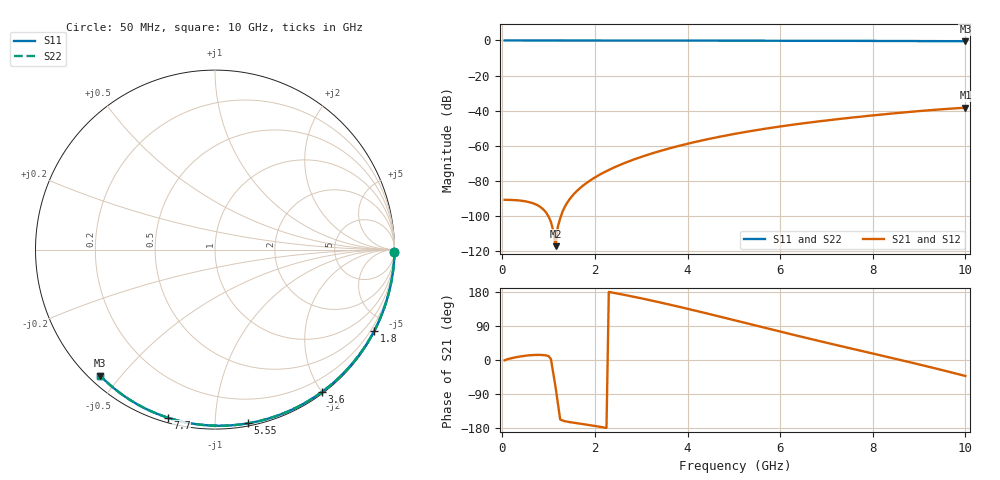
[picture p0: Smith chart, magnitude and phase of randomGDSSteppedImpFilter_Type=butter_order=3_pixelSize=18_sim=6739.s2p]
! freq	dB(S11)	phase(S11)	dB(S12)	phase(S12)
!  dB(S21)	phase(S21)	dB(S22)	phase(S22)
!S-par simulation data
#  GHz  S  DB  R 50
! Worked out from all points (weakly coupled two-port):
!   200 points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, 50 MHz to 10 GHz, reference 50 ohm
!   highest |S21| = -38.29 dB at 10 GHz (marker M1); lowest = -117.1 dB at 1.15 GHz (marker M2)
!   lowest |S11| = -0.4 dB at 10 GHz (marker M3), VSWR 38.89, Z = 1.54 - j22.1 ohm
!   |S11| at or under -10 dB: nowhere
!   |S22| runs from -0.4 to 0.0 dB; largest |S21 - S12| = 0
!   S11 on the Smith chart (normalised r, x): 50 MHz: open; 1.8 GHz: 0.04, -4.14; 3.6 GHz: 0.02, -2.00; 5.55 GHz: 0.02, -1.21; 7.7 GHz: 0.02, -0.76; 10 GHz: 0.03, -0.44
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0.05  -0.00 -0.8  -90.69 -0.8  -90.69 -0.8  -0.00 -0.8
0.6  -0.01 -9.2  -92.16 12.5  -92.16 12.5  -0.01 -9.2
1.15  -0.02 -17.5  -117.08 -71.4  -117.08 -71.4  -0.02 -17.5
1.75  -0.03 -26.4  -82.49 -169.3  -82.49 -169.3  -0.03 -26.4
1.8  -0.03 -27.1  -81.48 -170.2  -81.48 -170.2  -0.03 -27.2
1.85  -0.04 -27.9  -80.53 -171.2  -80.53 -171.2  -0.04 -27.9
1.9  -0.04 -28.6  -79.63 -172.1  -79.63 -172.1  -0.04 -28.6
2.05  -0.04 -30.8  -77.18 -175.1  -77.18 -175.1  -0.04 -30.8
2.25  -0.04 -33.7  -74.34 -179.3  -74.34 -179.3  -0.04 -33.8
2.65  -0.05 -39.6  -69.66 171.5  -69.66 171.5  -0.05 -39.6
3  -0.06 -44.6  -66.28 162.8  -66.28 162.8  -0.06 -44.6
3.4  -0.07 -50.2  -62.97 152.1  -62.97 152.1  -0.07 -50.3
3.6  -0.07 -53.0  -61.49 146.6  -61.49 146.6  -0.07 -53.1
4.3  -0.09 -62.7  -56.97 126.4  -56.97 126.4  -0.09 -62.7
5.05  -0.11 -72.7  -53.01 103.9  -53.01 103.9  -0.11 -72.7
5.55  -0.13 -79.2  -50.76 88.7  -50.76 88.7  -0.13 -79.3
6.1  -0.15 -86.2  -48.58 72.1  -48.58 72.1  -0.15 -86.3
6.7  -0.18 -93.7  -46.49 54.3  -46.49 54.3  -0.18 -93.7
7.7  -0.24 -105.8  -43.47 25.6  -43.47 25.6  -0.24 -105.8
8.35  -0.29 -113.4  -41.75 7.1  -41.75 7.1  -0.29 -113.5
9.25  -0.37 -123.8  -39.65 -19.1  -39.65 -19.1  -0.37 -123.8
10  -0.45 -132.3  -38.29 -42.2  -38.29 -42.2  -0.45 -132.4
